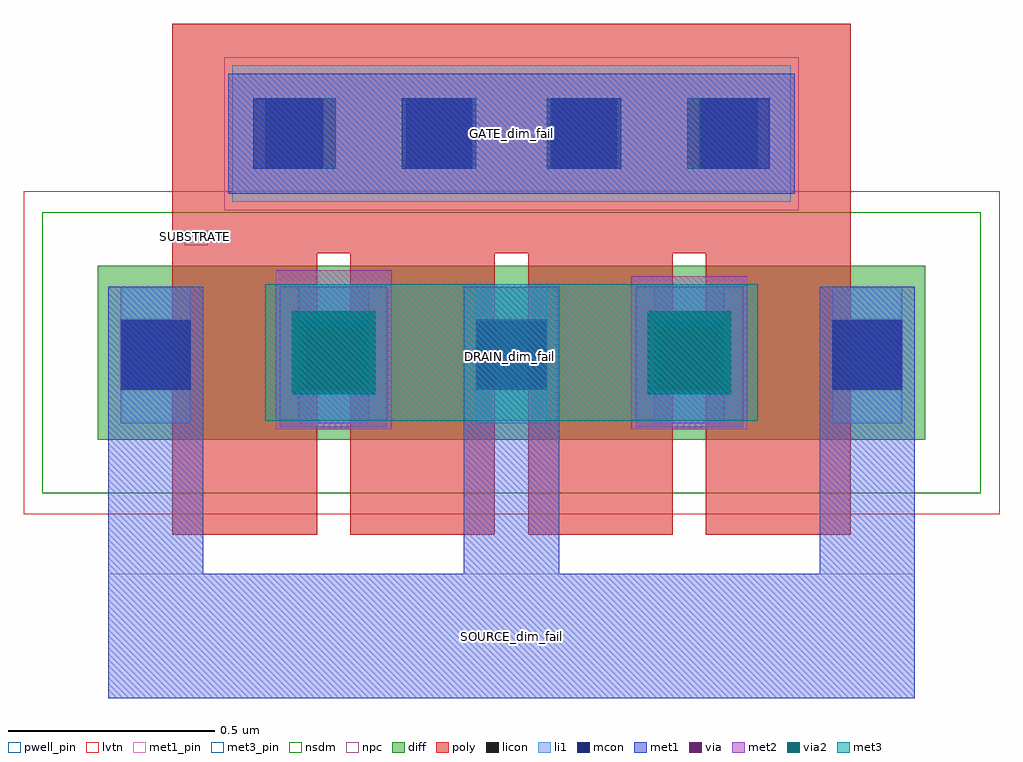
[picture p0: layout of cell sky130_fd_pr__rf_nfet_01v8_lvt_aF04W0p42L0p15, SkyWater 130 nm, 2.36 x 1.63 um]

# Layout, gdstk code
import gdstk
lib = gdstk.Library(unit=1e-6, precision=1e-09)
def R(c, l, rs):  # rectangles x0, y0, x1, y1
    for r in rs: c.add(gdstk.rectangle(r[:2], r[2:], *l))
def A(c, l, x, y, w, h, nx, ny, dx, dy):  # array of equal rectangles
    R(c, l, [(x+i*dx, y+j*dy, x+i*dx+w, y+j*dy+h) for i in range(nx) for j in range(ny)])
def P(c, l, *ps):  # polygons
    for p in ps: c.add(gdstk.Polygon(p, *l))
diff = (65, 20)
poly = (66, 20)
licon = (66, 44)
li1 = (67, 20)
mcon = (67, 44)
met1_pin = (68, 16)
met1 = (68, 20)
via = (68, 44)
met2 = (69, 20)
via2 = (69, 44)
met3_pin = (70, 16)
met3 = (70, 20)
nsdm = (93, 44)
npc = (95, 20)
pwell_pin = (122, 16)
lvtn = (125, 44)

sky130_fd_pr__rf_nfet_01 = lib.new_cell('sky130_fd_pr__rf_nfet_01v8_lvt_aF04W0p42L0p15')
A(sky130_fd_pr__rf_nfet_01, diff, 0.18, 0.18, 0.28, 0.42, 3, 1, 0.43, 0)
A(sky130_fd_pr__rf_nfet_01, diff, 0.21, 0.18, 0.25, 0.42, 3, 1, 0.86, 0)
A(sky130_fd_pr__rf_nfet_01, diff, 0.46, 0.18, 0.15, 0.42, 4, 1, 0.43, 0)
A(sky130_fd_pr__rf_nfet_01, diff, 1.04, 0.18, 0.28, 0.42, 3, 1, 0.43, 0)
R(sky130_fd_pr__rf_nfet_01, diff, [(1.9,0.18,2.18,0.6)])
P(sky130_fd_pr__rf_nfet_01, poly, [(0.36,-0.05),(0.36,1.185),(2,1.185),(2,-0.05),(1.65,-0.05),(1.65,0.63),(1.57,0.63),(1.57,-0.05),(1.22,-0.05),(1.22,0.63),(1.14,0.63),(1.14,-0.05),(0.79,-0.05),(0.79,0.63),(0.71,0.63),(0.71,-0.05)])
A(sky130_fd_pr__rf_nfet_01, licon, 0.235, 0.3, 0.17, 0.17, 5, 1, 0.43, 0)
A(sky130_fd_pr__rf_nfet_01, licon, 0.585, 0.835, 0.17, 0.17, 4, 1, 0.34, 0)
A(sky130_fd_pr__rf_nfet_01, li1, 0.235, 0.22, 0.17, 0.33, 5, 1, 0.43, 0)
R(sky130_fd_pr__rf_nfet_01, li1, [(0.505,0.755,1.855,1.085), (0.555,0.835,1.805,1.005)])
A(sky130_fd_pr__rf_nfet_01, mcon, 0.235, 0.3, 0.17, 0.17, 5, 1, 0.43, 0)
A(sky130_fd_pr__rf_nfet_01, mcon, 0.555, 0.835, 0.17, 0.17, 4, 1, 0.36, 0)
R(sky130_fd_pr__rf_nfet_01, met1_pin, [(0.205,-0.445,2.155,-0.145), (0.495,0.775,1.865,1.065)])
R(sky130_fd_pr__rf_nfet_01, met1, [(0.495,0.775,1.865,1.065)])
R(sky130_fd_pr__rf_nfet_01, via, [(0.675,0.3,0.825,0.45), (1.535,0.3,1.685,0.45)])
R(sky130_fd_pr__rf_nfet_01, met2, [(0.61,0.205,0.89,0.59), (1.47,0.205,1.75,0.575)])
R(sky130_fd_pr__rf_nfet_01, via2, [(0.65,0.29,0.85,0.49), (1.51,0.29,1.71,0.49)])
R(sky130_fd_pr__rf_nfet_01, met3_pin, [(0.585,0.225,1.775,0.555)])
A(sky130_fd_pr__rf_nfet_01, nsdm, 0.21, 0.05, 0.4, 0.68, 4, 1, 0.43, 0)
A(sky130_fd_pr__rf_nfet_01, nsdm, 0.48, 0.05, 0.54, 0.68, 3, 1, 0.43, 0)
R(sky130_fd_pr__rf_nfet_01, nsdm, [(0.045,0.05,0.59,0.73), (1.77,0.05,2.315,0.73)])
R(sky130_fd_pr__rf_nfet_01, npc, [(0.485,0.735,1.875,1.105)])
R(sky130_fd_pr__rf_nfet_01, pwell_pin, [(0.39,0.65,0.445,0.685)])
R(sky130_fd_pr__rf_nfet_01, lvtn, [(0,0,2.36,0.78)])
sky130_fd_pr__rf_nfet_01.add(gdstk.FlexPath([(0.585,0.39),(1.775,0.39)], 0.33, ends="flush", simple_path=True, layer=70, datatype=20))  # met3
sky130_fd_pr__rf_nfet_01.add(gdstk.FlexPath([(2.04,0.55),(2.04,-0.445)], 0.23, ends="flush", simple_path=True, layer=68, datatype=20))  # met1
sky130_fd_pr__rf_nfet_01.add(gdstk.FlexPath([(1.18,0.55),(1.18,-0.445)], 0.23, ends="flush", simple_path=True, layer=68, datatype=20))  # met1
sky130_fd_pr__rf_nfet_01.add(gdstk.FlexPath([(0.32,0.55),(0.32,-0.445)], 0.23, ends="flush", simple_path=True, layer=68, datatype=20))  # met1
sky130_fd_pr__rf_nfet_01.add(gdstk.FlexPath([(0.205,-0.295),(2.155,-0.295)], 0.3, ends="flush", simple_path=True, layer=68, datatype=20))  # met1
sky130_fd_pr__rf_nfet_01.add(gdstk.FlexPath([(0.75,0.55),(0.75,0.21)], 0.26, ends="flush", simple_path=True, layer=68, datatype=20))  # met1
sky130_fd_pr__rf_nfet_01.add(gdstk.FlexPath([(1.61,0.55),(1.61,0.21)], 0.26, ends="flush", simple_path=True, layer=68, datatype=20))  # met1
sky130_fd_pr__rf_nfet_01.add(gdstk.Label('DRAIN_dim_fail', (1.175,0.38), layer=70, texttype=16))
sky130_fd_pr__rf_nfet_01.add(gdstk.Label('SOURCE_dim_fail', (1.18,-0.295), layer=68, texttype=16))
sky130_fd_pr__rf_nfet_01.add(gdstk.Label('GATE_dim_fail', (1.18,0.92), layer=68, texttype=16))
sky130_fd_pr__rf_nfet_01.add(gdstk.Label('SUBSTRATE', (0.415,0.67), layer=64, texttype=59))

lib.write_gds('sky130_fd_pr__rf_nfet_01v8_lvt_aF04W0p42L0p15.gds')
